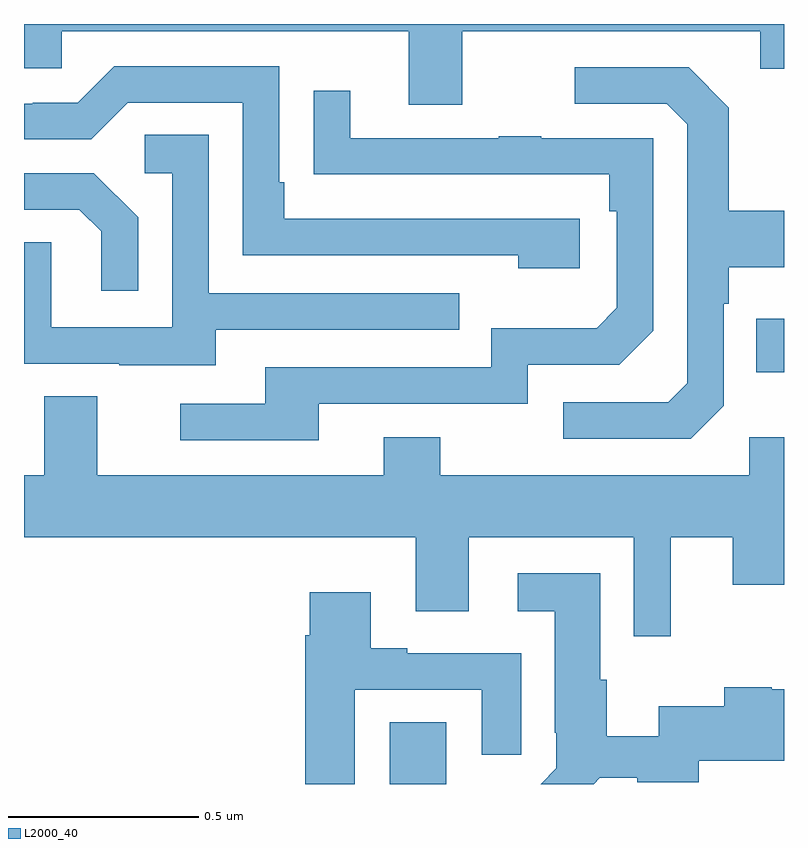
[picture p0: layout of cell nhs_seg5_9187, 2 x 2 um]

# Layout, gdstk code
import gdstk
lib = gdstk.Library(unit=1e-6, precision=1e-09)
def R(c, l, rs):  # rectangles x0, y0, x1, y1
    for r in rs: c.add(gdstk.rectangle(r[:2], r[2:], *l))
def P(c, l, *ps):  # polygons
    for p in ps: c.add(gdstk.Polygon(p, *l))
L2000_40 = (2000, 40)

nhs_seg5_9187 = lib.new_cell('nhs_seg5_9187')
R(nhs_seg5_9187, L2000_40, [(231.962,834.799,232.111,834.962), (232.927,835.883,233,836.023)])
P(nhs_seg5_9187, L2000_40, [(231,836.682),(231.099,836.682),(231.099,836.78),(232.013,836.78),(232.013,836.586),(232.153,836.586),(232.153,836.78),(232.937,836.78),(232.937,836.681),(233,836.681),(233,836.799),(231,836.799)],
  [(232.462,836.286),(231.685,836.286),(231.685,836.383),(231.672,836.383),(231.672,836.688),(231.237,836.688),(231.141,836.592),(231.023,836.592),(231.023,836.589),(231,836.589),(231,836.496),(231.177,836.496),(231.273,836.592),(231.576,836.592),(231.576,836.19),(232.301,836.19),(232.301,836.156),(232.462,836.156)],
  [(232.842,835.794),(232.842,836.063),(232.855,836.063),(232.855,836.159),(233,836.159),(233,836.307),(232.855,836.307),(232.855,836.579),(232.749,836.685),(232.449,836.685),(232.449,836.589),(232.692,836.589),(232.746,836.535),(232.746,835.854),(232.695,835.803),(232.419,835.803),(232.419,835.707),(232.755,835.707)],
  [(231.775,835.8),(232.326,835.8),(232.326,835.902),(232.566,835.902),(232.656,835.992),(232.656,836.499),(232.361,836.499),(232.361,836.504),(232.249,836.504),(232.249,836.499),(231.859,836.499),(231.859,836.623),(231.763,836.623),(231.763,836.404),(231.865,836.404),(231.865,836.403),(232.54,836.403),(232.54,836.306),(232.56,836.306),(232.56,836.052),(232.507,835.999),(232.23,835.999),(232.23,835.896),(231.635,835.896),(231.635,835.8),(231.411,835.8),(231.411,835.704),(231.775,835.704)],
  [(231.505,835.995),(232.145,835.995),(232.145,836.091),(231.486,836.091),(231.486,836.507),(231.318,836.507),(231.318,836.406),(231.39,836.406),(231.39,836.001),(231.072,836.001),(231.072,836.225),(231,836.225),(231,835.905),(231.251,835.905),(231.251,835.901),(231.505,835.901)],
  [(231.3,836.29),(231.184,836.406),(231,836.406),(231,836.31),(231.146,836.31),(231.203,836.253),(231.203,836.097),(231.3,836.097)],
  [(232.702,835.448),(232.865,835.448),(232.865,835.324),(233,835.324),(233,835.711),(232.908,835.711),(232.908,835.612),(232.095,835.612),(232.095,835.711),(231.947,835.711),(231.947,835.612),(231.193,835.612),(231.193,835.82),(231.053,835.82),(231.053,835.612),(231,835.612),(231,835.448),(232.031,835.448),(232.031,835.254),(232.171,835.254),(232.171,835.448),(232.605,835.448),(232.605,835.188),(232.702,835.188)],
  [(232.515,834.815),(232.614,834.815),(232.614,834.803),(232.775,834.803),(232.775,834.86),(233,834.86),(233,835.048),(232.968,835.048),(232.968,835.054),(232.843,835.054),(232.843,835.003),(232.671,835.003),(232.671,834.925),(232.534,834.925),(232.534,835.074),(232.516,835.074),(232.516,835.354),(232.299,835.354),(232.299,835.253),(232.397,835.253),(232.397,834.934),(232.401,834.934),(232.401,834.84),(232.36,834.799),(232.499,834.799)],
  [(231.871,835.047),(232.205,835.047),(232.205,834.876),(232.309,834.876),(232.309,835.143),(232.009,835.143),(232.009,835.156),(231.913,835.156),(231.913,835.303),(231.752,835.303),(231.752,835.19),(231.74,835.19),(231.74,834.799),(231.871,834.799)])

lib.write_gds('nhs_seg5_9187.gds')
